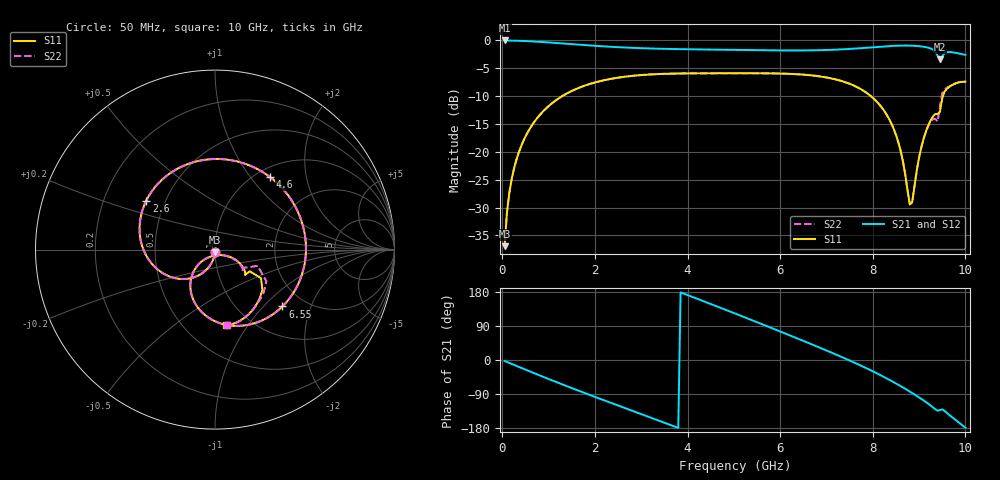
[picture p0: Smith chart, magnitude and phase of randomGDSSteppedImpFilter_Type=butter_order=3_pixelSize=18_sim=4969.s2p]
! freq	dB(S11)	phase(S11)	dB(S12)	phase(S12)
!  dB(S21)	phase(S21)	dB(S22)	phase(S22)
!S-par simulation data
#  GHz  S  DB  R 50
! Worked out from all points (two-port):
!   200 points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, 50 MHz to 10 GHz, reference 50 ohm
!   highest |S21| = -0.01 dB at 50 MHz (marker M1); lowest = -3.4 dB at 9.45 GHz (marker M2)
!   |S21| within 3 dB of the highest: start of sweep to 9.42 GHz; 9.486 GHz to end of sweep
!   lowest |S11| = -36.9 dB at 50 MHz (marker M3), VSWR 1.03, Z = 49.9 - j1.42 ohm
!   |S11| at or under -10 dB: start of sweep to 1.293 GHz; 7.959 GHz to 9.516 GHz (1.557 GHz wide, 17.8 % of centre)
!   |S22| runs from -36.9 to -5.9 dB; largest |S21 - S12| = 0
!   S11 on the Smith chart (normalised r, x): 50 MHz: 1.00, -0.03; 2.6 GHz: 0.39, +0.27; 4.6 GHz: 1.15, +1.25; 6.55 GHz: 1.55, -1.29; 10 GHz: 0.78, -0.80
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0.05  -36.92 -92.2  -0.01 -2.6  -0.01 -2.6  -36.92 -92.2
0.1  -30.92 -95.1  -0.01 -5.2  -0.01 -5.2  -30.92 -95.1
0.2  -25.00 -100.5  -0.03 -10.3  -0.03 -10.3  -25.00 -100.5
0.5  -17.26 -116.0  -0.11 -25.4  -0.11 -25.4  -17.26 -116.0
1.15  -10.79 -148.1  -0.45 -57.5  -0.45 -57.5  -10.79 -148.1
1.75  -8.20 -176.5  -0.82 -85.8  -0.82 -85.8  -8.20 -176.5
2.6  -6.56 144.7  -1.26 -124.6  -1.26 -124.6  -6.56 144.7
3.4  -6.03 108.4  -1.49 -160.9  -1.49 -160.9  -6.02 108.5
4.6  -5.90 52.9  -1.66 143.1  -1.66 143.1  -5.90 52.9
5.05  -5.89 31.6  -1.71 121.6  -1.71 121.6  -5.89 31.7
5.8  -5.91 -4.1  -1.78 85.1  -1.78 85.1  -5.91 -4.1
6.55  -6.17 -40.1  -1.79 48.0  -1.79 48.0  -6.17 -40.1
6.7  -6.29 -47.4  -1.78 40.5  -1.78 40.5  -6.29 -47.3
7.6  -8.14 -92.2  -1.48 -6.7  -1.48 -6.7  -8.14 -92.2
8.35  -14.06 -131.0  -1.02 -51.7  -1.02 -51.7  -14.06 -131.1
8.6  -19.76 -138.4  -0.93 -68.8  -0.93 -68.8  -19.77 -138.6
8.8  -29.41 -96.2  -0.93 -83.3  -0.93 -83.3  -29.45 -96.5
9.15  -16.27 -28.4  -1.21 -111.2  -1.21 -111.2  -16.36 -29.1
9.35  -13.21 -39.1  -2.03 -130.1  -2.03 -130.1  -14.09 -39.8
9.45  -12.84 -31.9  -3.39 -131.9  -3.39 -131.9  -11.88 -20.8
9.6  -8.67 -47.5  -2.11 -139.7  -2.11 -139.7  -8.52 -48.3
10  -7.41 -81.5  -2.60 -178.6  -2.60 -178.6  -7.38 -81.2
